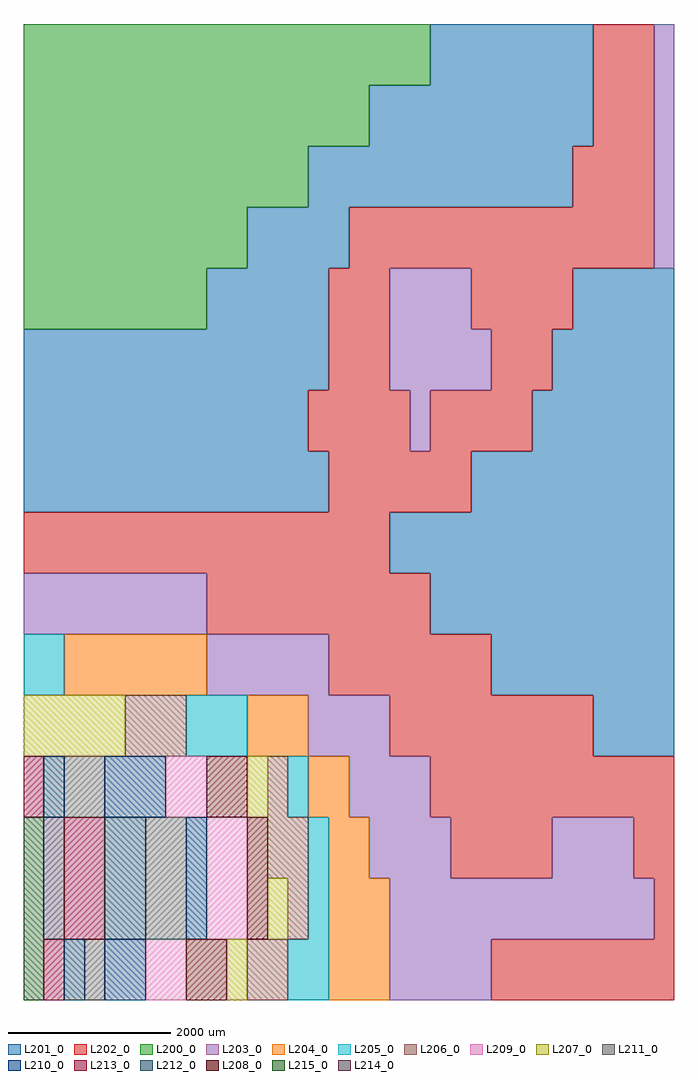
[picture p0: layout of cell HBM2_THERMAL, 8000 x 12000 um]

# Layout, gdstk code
import gdstk
lib = gdstk.Library(unit=1e-6, precision=1e-09)
def R(c, l, rs):  # rectangles x0, y0, x1, y1
    for r in rs: c.add(gdstk.rectangle(r[:2], r[2:], *l))
def A(c, l, x, y, w, h, nx, ny, dx, dy):  # array of equal rectangles
    R(c, l, [(x+i*dx, y+j*dy, x+i*dx+w, y+j*dy+h) for i in range(nx) for j in range(ny)])
L200_0 = (200, 0)
L201_0 = (201, 0)
L202_0 = (202, 0)
L203_0 = (203, 0)
L204_0 = (204, 0)
L205_0 = (205, 0)
L206_0 = (206, 0)
L207_0 = (207, 0)
L208_0 = (208, 0)
L209_0 = (209, 0)
L210_0 = (210, 0)
L211_0 = (211, 0)
L212_0 = (212, 0)
L213_0 = (213, 0)
L214_0 = (214, 0)
L215_0 = (215, 0)

hbm2_thermal = lib.new_cell('HBM2_THERMAL')
A(hbm2_thermal, L200_0, 0, 8250, 250, 750, 9, 1, 250, 0)
A(hbm2_thermal, L200_0, 0, 9000, 250, 750, 11, 1, 250, 0)
A(hbm2_thermal, L200_0, 0, 9750, 250, 750, 14, 1, 250, 0)
A(hbm2_thermal, L200_0, 0, 10500, 250, 750, 17, 1, 250, 0)
A(hbm2_thermal, L200_0, 0, 11250, 250, 750, 20, 1, 250, 0)
A(hbm2_thermal, L201_0, 7000, 3000, 250, 750, 4, 1, 250, 0)
A(hbm2_thermal, L201_0, 5750, 3750, 250, 750, 9, 1, 250, 0)
A(hbm2_thermal, L201_0, 5000, 4500, 250, 750, 12, 1, 250, 0)
A(hbm2_thermal, L201_0, 4500, 5250, 250, 750, 14, 1, 250, 0)
A(hbm2_thermal, L201_0, 0, 6000, 250, 750, 15, 2, 250, 1500)
A(hbm2_thermal, L201_0, 5500, 6000, 250, 750, 10, 1, 250, 0)
A(hbm2_thermal, L201_0, 0, 6750, 250, 750, 14, 1, 250, 0)
A(hbm2_thermal, L201_0, 6250, 6750, 250, 750, 7, 1, 250, 0)
A(hbm2_thermal, L201_0, 6500, 7500, 250, 750, 6, 1, 250, 0)
A(hbm2_thermal, L201_0, 2250, 8250, 250, 750, 6, 1, 250, 0)
A(hbm2_thermal, L201_0, 6750, 8250, 250, 750, 5, 1, 250, 0)
A(hbm2_thermal, L201_0, 2750, 9000, 250, 750, 5, 1, 250, 0)
A(hbm2_thermal, L201_0, 3500, 9750, 250, 750, 13, 1, 250, 0)
A(hbm2_thermal, L201_0, 4250, 10500, 250, 750, 11, 1, 250, 0)
A(hbm2_thermal, L201_0, 5000, 11250, 250, 750, 8, 1, 250, 0)
A(hbm2_thermal, L202_0, 5750, 0, 250, 750, 9, 1, 250, 0)
A(hbm2_thermal, L202_0, 5250, 1500, 250, 750, 5, 1, 250, 0)
A(hbm2_thermal, L202_0, 5000, 2250, 250, 750, 12, 1, 250, 0)
A(hbm2_thermal, L202_0, 4500, 3000, 250, 750, 10, 1, 250, 0)
A(hbm2_thermal, L202_0, 3750, 3750, 250, 750, 8, 1, 250, 0)
A(hbm2_thermal, L202_0, 2250, 4500, 250, 750, 11, 1, 250, 0)
A(hbm2_thermal, L202_0, 0, 5250, 250, 750, 18, 1, 250, 0)
A(hbm2_thermal, L202_0, 3750, 6000, 250, 750, 7, 1, 250, 0)
A(hbm2_thermal, L202_0, 3500, 6750, 250, 750, 5, 1, 250, 0)
A(hbm2_thermal, L202_0, 5000, 6750, 250, 750, 5, 1, 250, 0)
A(hbm2_thermal, L202_0, 3750, 7500, 250, 750, 3, 2, 250, 750)
A(hbm2_thermal, L202_0, 5750, 7500, 250, 750, 3, 1, 250, 0)
A(hbm2_thermal, L202_0, 5500, 8250, 250, 750, 5, 1, 250, 0)
A(hbm2_thermal, L202_0, 4000, 9000, 250, 750, 15, 1, 250, 0)
A(hbm2_thermal, L202_0, 6750, 9750, 250, 750, 4, 1, 250, 0)
A(hbm2_thermal, L202_0, 7000, 10500, 250, 750, 3, 2, 250, 750)
R(hbm2_thermal, L202_0, [(7750,750,8000,1500), (7500,1500,7750,2250), (7750,1500,8000,2250)])
A(hbm2_thermal, L203_0, 4500, 0, 250, 750, 5, 2, 250, 7500)
A(hbm2_thermal, L203_0, 4500, 750, 250, 750, 13, 1, 250, 0)
A(hbm2_thermal, L203_0, 4250, 1500, 250, 750, 4, 1, 250, 0)
A(hbm2_thermal, L203_0, 6500, 1500, 250, 750, 4, 1, 250, 0)
A(hbm2_thermal, L203_0, 4000, 2250, 250, 750, 4, 1, 250, 0)
A(hbm2_thermal, L203_0, 3500, 3000, 250, 750, 4, 1, 250, 0)
A(hbm2_thermal, L203_0, 2250, 3750, 250, 750, 6, 1, 250, 0)
A(hbm2_thermal, L203_0, 0, 4500, 250, 750, 9, 1, 250, 0)
A(hbm2_thermal, L203_0, 4500, 8250, 250, 750, 4, 1, 250, 0)
A(hbm2_thermal, L203_0, 7750, 9000, 250, 750, 1, 4, 0, 750)
R(hbm2_thermal, L203_0, [(4750,6750,5000,7500)])
A(hbm2_thermal, L204_0, 3750, 0, 250, 750, 3, 2, 250, 750)
A(hbm2_thermal, L204_0, 2750, 3000, 250, 750, 3, 1, 250, 0)
A(hbm2_thermal, L204_0, 500, 3750, 250, 750, 7, 1, 250, 0)
R(hbm2_thermal, L204_0, [(3750,1500,4000,2250), (4000,1500,4250,2250), (3500,2250,3750,3000), (3750,2250,4000,3000)])
A(hbm2_thermal, L205_0, 3500, 0, 250, 750, 1, 3, 0, 750)
A(hbm2_thermal, L205_0, 2000, 3000, 250, 750, 3, 1, 250, 0)
R(hbm2_thermal, L205_0, [(3250,0,3500,750), (3250,2250,3500,3000), (0,3750,250,4500), (250,3750,500,4500)])
A(hbm2_thermal, L206_0, 1250, 3000, 250, 750, 3, 1, 250, 0)
R(hbm2_thermal, L206_0, [(2750,0,3000,750), (3000,0,3250,750), (3250,750,3500,1500), (3000,1500,3250,2250), (3250,1500,3500,2250), (3000,2250,3250,3000)])
A(hbm2_thermal, L207_0, 0, 3000, 250, 750, 5, 1, 250, 0)
R(hbm2_thermal, L207_0, [(2500,0,2750,750), (3000,750,3250,1500), (2750,2250,3000,3000)])
R(hbm2_thermal, L208_0, [(2000,0,2250,750), (2250,0,2500,750), (2750,750,3000,1500), (2750,1500,3000,2250), (2250,2250,2500,3000), (2500,2250,2750,3000)])
R(hbm2_thermal, L209_0, [(1500,0,1750,750), (1750,0,2000,750), (2250,750,2500,1500), (2500,750,2750,1500), (2250,1500,2500,2250), (2500,1500,2750,2250), (1750,2250,2000,3000), (2000,2250,2250,3000)])
A(hbm2_thermal, L210_0, 1000, 2250, 250, 750, 3, 1, 250, 0)
R(hbm2_thermal, L210_0, [(1000,0,1250,750), (1250,0,1500,750), (2000,750,2250,1500), (2000,1500,2250,2250)])
R(hbm2_thermal, L211_0, [(750,0,1000,750), (1500,750,1750,1500), (1750,750,2000,1500), (1500,1500,1750,2250), (1750,1500,2000,2250), (500,2250,750,3000), (750,2250,1000,3000)])
R(hbm2_thermal, L212_0, [(500,0,750,750), (1000,750,1250,1500), (1250,750,1500,1500), (1000,1500,1250,2250), (1250,1500,1500,2250), (250,2250,500,3000)])
R(hbm2_thermal, L213_0, [(250,0,500,750), (500,750,750,1500), (750,750,1000,1500), (500,1500,750,2250), (750,1500,1000,2250), (0,2250,250,3000)])
R(hbm2_thermal, L214_0, [(250,750,500,1500), (250,1500,500,2250)])
A(hbm2_thermal, L215_0, 0, 0, 250, 750, 1, 3, 0, 750)

lib.write_gds('HBM2_THERMAL.gds')
